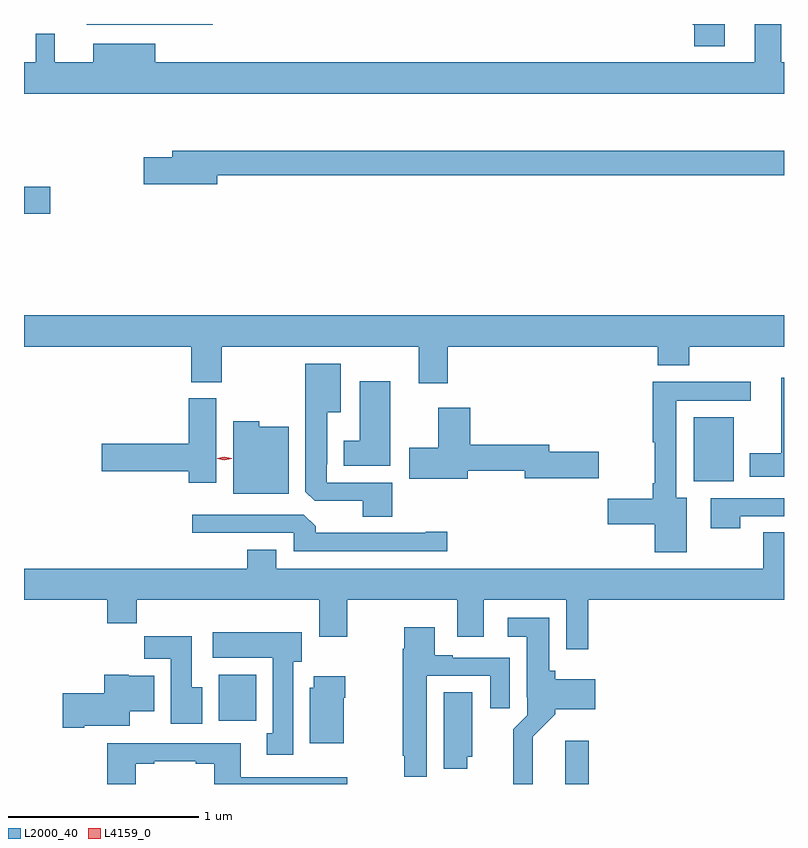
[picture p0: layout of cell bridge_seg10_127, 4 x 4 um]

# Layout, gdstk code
import gdstk
lib = gdstk.Library(unit=1e-6, precision=1e-09)
def R(c, l, rs):  # rectangles x0, y0, x1, y1
    for r in rs: c.add(gdstk.rectangle(r[:2], r[2:], *l))
def P(c, l, *ps):  # polygons
    for p in ps: c.add(gdstk.Polygon(p, *l))
L2000_40 = (2000, 40)
L4159_0 = (4159, 0)

bridge_seg10_127 = lib.new_cell('bridge_seg10_127')
R(bridge_seg10_127, L2000_40, [(365.135,1298.014,365.258,1298.242), (363.311,1298.348,363.508,1298.59), (365.81,1299.608,366.022,1299.943), (362.286,1301.015,362.425,1301.157), (362.615,1302.011,363.28,1302.014)])
P(bridge_seg10_127, L2000_40, [(366.286,1301.812),(366.271,1301.812),(366.271,1302.014),(366.131,1302.014),(366.131,1301.812),(362.977,1301.812),(362.977,1301.911),(362.651,1301.911),(362.651,1301.812),(362.447,1301.812),(362.447,1301.962),(362.349,1301.962),(362.349,1301.812),(362.286,1301.812),(362.286,1301.648),(366.286,1301.648)],
  [(365.974,1302.014),(365.806,1302.014),(365.806,1302.01),(365.813,1302.01),(365.813,1301.898),(365.974,1301.898)],
  [(363.304,1301.218),(366.286,1301.218),(366.286,1301.347),(363.065,1301.347),(363.065,1301.313),(362.916,1301.313),(362.916,1301.171),(363.304,1301.171)],
  [(364.517,1300.316),(365.621,1300.316),(365.621,1300.217),(365.786,1300.217),(365.786,1300.316),(366.286,1300.316),(366.286,1300.48),(362.286,1300.48),(362.286,1300.316),(363.167,1300.316),(363.167,1300.129),(363.327,1300.129),(363.327,1300.316),(364.364,1300.316),(364.364,1300.122),(364.517,1300.122)],
  [(364.223,1299.6),(363.879,1299.6),(363.879,1299.697),(363.883,1299.697),(363.883,1299.971),(363.952,1299.971),(363.952,1300.225),(363.767,1300.225),(363.767,1299.553),(363.816,1299.504),(364.07,1299.504),(364.07,1299.421),(364.223,1299.421)],
  [(366.286,1300.153),(366.272,1300.153),(366.272,1299.754),(366.107,1299.754),(366.107,1299.632),(366.286,1299.632)],
  [(364.213,1300.135),(364.052,1300.135),(364.052,1299.82),(363.968,1299.82),(363.968,1299.689),(364.213,1299.689)],
  [(365.773,1299.52),(365.719,1299.52),(365.719,1300.032),(366.112,1300.032),(366.112,1300.13),(365.594,1300.13),(365.594,1299.812),(365.606,1299.812),(365.606,1299.598),(365.594,1299.598),(365.594,1299.515),(365.358,1299.515),(365.358,1299.38),(365.606,1299.38),(365.606,1299.234),(365.773,1299.234)],
  [(363.298,1300.044),(363.152,1300.044),(363.152,1299.806),(362.694,1299.806),(362.694,1299.659),(363.152,1299.659),(363.152,1299.6),(363.298,1299.6)],
  [(364.621,1299.664),(364.922,1299.664),(364.922,1299.622),(365.311,1299.622),(365.311,1299.764),(365.05,1299.764),(365.05,1299.8),(364.634,1299.8),(364.634,1299.994),(364.466,1299.994),(364.466,1299.783),(364.314,1299.783),(364.314,1299.62),(364.621,1299.62)],
  [(363.679,1299.895),(363.525,1299.895),(363.525,1299.922),(363.386,1299.922),(363.386,1299.542),(363.679,1299.542)],
  [(366.057,1299.423),(366.286,1299.423),(366.286,1299.519),(365.901,1299.519),(365.901,1299.36),(366.057,1299.36)],
  [(364.513,1299.341),(364.4,1299.341),(364.4,1299.336),(363.821,1299.336),(363.821,1299.37),(363.759,1299.432),(363.171,1299.432),(363.171,1299.336),(363.705,1299.336),(363.705,1299.24),(364.513,1299.24)],
  [(365.255,1298.984),(366.286,1298.984),(366.286,1299.338),(366.178,1299.338),(366.178,1299.148),(363.613,1299.148),(363.613,1299.247),(363.461,1299.247),(363.461,1299.148),(362.286,1299.148),(362.286,1298.984),(362.723,1298.984),(362.723,1298.86),(362.879,1298.86),(362.879,1298.984),(363.839,1298.984),(363.839,1298.79),(363.987,1298.79),(363.987,1298.984),(364.565,1298.984),(364.565,1298.79),(364.705,1298.79),(364.705,1298.984),(365.139,1298.984),(365.139,1298.724),(365.255,1298.724)],
  [(364.963,1298.264),(365.081,1298.382),(365.081,1298.408),(365.293,1298.408),(365.293,1298.566),(365.081,1298.566),(365.081,1298.61),(365.05,1298.61),(365.05,1298.89),(364.833,1298.89),(364.833,1298.789),(364.931,1298.789),(364.931,1298.47),(364.935,1298.47),(364.935,1298.376),(364.861,1298.302),(364.861,1298.014),(364.963,1298.014)],
  [(364.405,1298.583),(364.739,1298.583),(364.739,1298.412),(364.843,1298.412),(364.843,1298.679),(364.543,1298.679),(364.543,1298.692),(364.447,1298.692),(364.447,1298.839),(364.286,1298.839),(364.286,1298.726),(364.279,1298.726),(364.279,1298.164),(364.286,1298.164),(364.286,1298.052),(364.405,1298.052)],
  [(363.703,1298.658),(363.748,1298.658),(363.748,1298.812),(363.279,1298.812),(363.279,1298.678),(363.596,1298.678),(363.596,1298.282),(363.563,1298.282),(363.563,1298.169),(363.703,1298.169)],
  [(363.223,1298.524),(363.169,1298.524),(363.169,1298.791),(362.92,1298.791),(362.92,1298.672),(363.059,1298.672),(363.059,1298.331),(363.223,1298.331)],
  [(362.602,1298.321),(362.842,1298.321),(362.842,1298.396),(362.971,1298.396),(362.971,1298.584),(362.838,1298.584),(362.838,1298.59),(362.708,1298.59),(362.708,1298.492),(362.49,1298.492),(362.49,1298.309),(362.602,1298.309)],
  [(363.97,1298.468),(363.978,1298.468),(363.978,1298.581),(363.812,1298.581),(363.812,1298.52),(363.791,1298.52),(363.791,1298.228),(363.97,1298.228)],
  [(364.618,1298.157),(364.645,1298.157),(364.645,1298.498),(364.496,1298.498),(364.496,1298.093),(364.618,1298.093)],
  [(362.875,1298.121),(362.971,1298.121),(362.971,1298.133),(363.191,1298.133),(363.191,1298.121),(363.287,1298.121),(363.287,1298.014),(363.988,1298.014),(363.988,1298.049),(363.427,1298.049),(363.427,1298.229),(362.723,1298.229),(362.723,1298.014),(362.875,1298.014)])
P(bridge_seg10_127, L4159_0, [(363.341,1299.717),(363.303,1299.727),(363.303,1299.727),(363.303,1299.728),(363.341,1299.737),(363.379,1299.728),(363.379,1299.727),(363.379,1299.727)])

lib.write_gds('bridge_seg10_127.gds')
